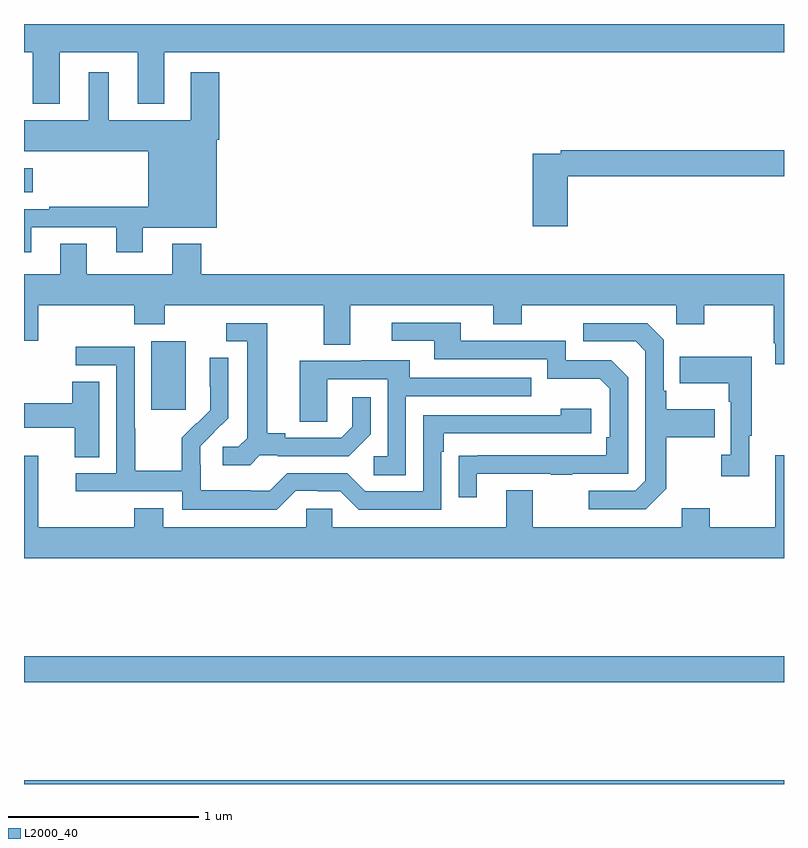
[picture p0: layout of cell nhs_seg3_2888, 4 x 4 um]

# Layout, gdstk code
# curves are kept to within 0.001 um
import gdstk
lib = gdstk.Library(unit=1e-6, precision=1e-09)
def R(c, l, rs):  # rectangles x0, y0, x1, y1
    for r in rs: c.add(gdstk.rectangle(r[:2], r[2:], *l))
def P(c, l, *ps):  # polygons
    for p in ps: c.add(gdstk.Polygon(p, *l))
L2000_40 = (2000, 40)

nhs_seg3_2888 = lib.new_cell('nhs_seg3_2888')
R(nhs_seg3_2888, L2000_40, [(261,694.4,265,694.42), (261,694.936,265,695.072), (261.671,696.369,261.85,696.73), (261,697.514,261.046,697.642)])
P(nhs_seg3_2888, L2000_40, [(261.187,698.252),(261.599,698.252),(261.599,697.979),(261.739,697.979),(261.739,698.252),(265,698.252),(265,698.4),(261,698.4),(261,698.252),(261.047,698.252),(261.047,697.979),(261.187,697.979)],
  [(261.037,697.329),(261.485,697.329),(261.485,697.2),(261.625,697.2),(261.625,697.328),(262.015,697.328),(262.015,697.79),(262.028,697.79),(262.028,698.146),(261.878,698.146),(261.878,697.894),(261.445,697.894),(261.445,698.146),(261.341,698.146),(261.341,697.894),(261,697.894),(261,697.73),(261.653,697.73),(261.653,697.438),(261.133,697.438),(261.133,697.425),(261,697.425),(261,697.2),(261.037,697.2)],
  [(263.861,697.6),(265,697.6),(265,697.736),(263.824,697.736),(263.824,697.716),(263.678,697.716),(263.678,697.335),(263.861,697.335)],
  [(265,697.084),(261.932,697.084),(261.932,697.243),(261.779,697.243),(261.779,697.084),(261.331,697.084),(261.331,697.244),(261.191,697.244),(261.191,697.084),(261,697.084),(261,696.732),(261.076,696.732),(261.076,696.92),(261.581,696.92),(261.581,696.821),(261.741,696.821),(261.741,696.92),(262.577,696.92),(262.577,696.712),(262.717,696.712),(262.717,696.92),(263.471,696.92),(263.471,696.821),(263.619,696.821),(263.619,696.92),(264.432,696.92),(264.432,696.821),(264.579,696.821),(264.579,696.92),(264.946,696.92),(264.946,696.721),(264.953,696.721),(264.953,696.609),(265,696.609)],
  [(263.383,696.033),(263.773,696.033),(263.773,696.028),(263.885,696.028),(263.885,696.033),(264.18,696.033),(264.18,696.54),(264.09,696.63),(263.85,696.63),(263.85,696.732),(263.299,696.732),(263.299,696.828),(262.935,696.828),(262.935,696.732),(263.159,696.732),(263.159,696.636),(263.754,696.636),(263.754,696.533),(264.031,696.533),(264.084,696.48),(264.084,696.226),(264.064,696.226),(264.064,696.129),(263.287,696.128),(263.287,695.91),(263.383,695.91)],
  [(264.379,695.953),(264.379,696.226),(264.635,696.226),(264.635,696.373),(264.379,696.373),(264.379,696.469),(264.366,696.469),(264.366,696.738),(264.279,696.825),(263.943,696.825),(263.943,696.729),(264.219,696.729),(264.27,696.678),(264.27,695.997),(264.216,695.943),(263.973,695.943),(263.973,695.847),(264.273,695.847)],
  [(262.242,696.129),(262.336,696.129),(262.336,696.126),(262.708,696.126),(262.824,696.242),(262.824,696.436),(262.727,696.436),(262.727,696.279),(262.67,696.222),(262.375,696.222),(262.375,696.245),(262.279,696.245),(262.279,696.825),(262.065,696.825),(262.065,696.729),(262.175,696.729),(262.175,696.221),(262.128,696.174),(262.047,696.174),(262.047,696.077),(262.19,696.077)],
  [(262.431,695.943),(262.547,695.943),(262.547,695.94),(262.665,695.94),(262.761,695.844),(263.196,695.844),(263.196,696.149),(263.209,696.149),(263.209,696.246),(263.986,696.246),(263.986,696.376),(263.825,696.376),(263.825,696.342),(263.1,696.342),(263.1,695.94),(262.797,695.94),(262.701,696.036),(262.386,696.036),(262.293,695.943),(262.193,695.943),(262.193,695.947),(261.93,695.947),(261.93,696.081),(261.928,696.081),(261.928,696.178),(262.074,696.326),(262.074,696.644),(261.978,696.644),(261.978,696.49),(261.98,696.49),(261.98,696.368),(261.909,696.297),(261.906,696.3),(261.829,696.223),(261.829,696.049),(261.585,696.049),(261.585,696.272),(261.582,696.272),(261.582,696.702),(261.273,696.702),(261.273,696.603),(261.486,696.603),(261.486,696.036),(261.273,696.036),(261.273,695.94),(261.834,695.94),(261.834,695.843),(262.331,695.843)],
  [(264.817,696.233),(264.829,696.233),(264.829,696.649),(264.451,696.649),(264.451,696.509),(264.708,696.509),(264.708,696.413),(264.72,696.413),(264.72,696.134),(264.669,696.134),(264.669,696.021),(264.817,696.021)],
  [(263.01,696.441),(263.669,696.441),(263.669,696.537),(263.029,696.537),(263.029,696.631),(262.775,696.631),(262.775,696.627),(262.451,696.627),(262.451,696.307),(262.596,696.307),(262.596,696.531),(262.914,696.531),(262.914,696.126),(262.842,696.126),(262.842,696.025),(263.01,696.025)],
  [(261.397,696.518),(261.254,696.518),(261.254,696.405),(261,696.405),(261,696.275),(261.266,696.275),(261.266,696.121),(261.397,696.121)],
  [(265,696.13),(264.953,696.13),(264.953,695.752),(264.609,695.752),(264.609,695.851),(264.461,695.851),(264.461,695.752),(263.677,695.752),(263.677,695.947),(263.537,695.947),(263.537,695.752),(262.623,695.752),(262.623,695.85),(262.485,695.85),(262.485,695.752),(261.733,695.752),(261.733,695.851),(261.581,695.851),(261.581,695.752),(261.076,695.752),(261.076,696.127),(261,696.127),(261,695.588),(265,695.588)])

lib.write_gds('nhs_seg3_2888.gds')
